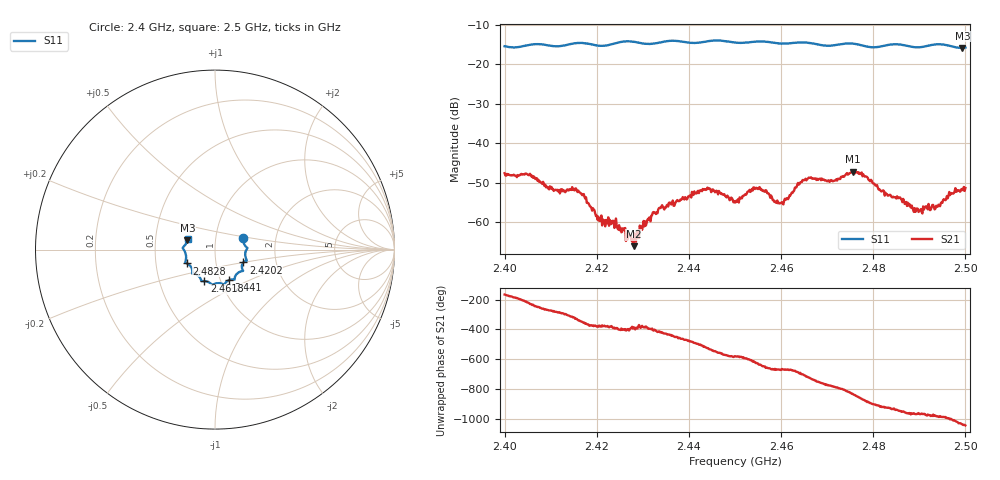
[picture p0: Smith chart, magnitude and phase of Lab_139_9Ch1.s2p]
# Hz S RI R 50
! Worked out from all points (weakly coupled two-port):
!   601 points, 2.4 GHz to 2.5 GHz, reference 50 ohm
!   highest |S21| = -47.22 dB at 2.4755 GHz (marker M1); lowest = -66.1 dB at 2.428 GHz (marker M2)
!   lowest |S11| = -15.8 dB at 2.4993 GHz (marker M3), VSWR 1.39, Z = 36.5 + j3.84 ohm
!   |S11| at or under -10 dB: start of sweep to end of sweep
!   S12 and S22 are empty: the file has one direction only
!   S11 on the Smith chart (normalised r, x): 2.4 GHz: 1.36, +0.18; 2.4202 GHz: 1.36, -0.20; 2.441 GHz: 1.10, -0.39; 2.4618 GHz: 0.84, -0.30; 2.4828 GHz: 0.72, -0.11; 2.5 GHz: 0.73, +0.09
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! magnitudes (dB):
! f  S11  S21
! 2.4 GHz  -15.4  -47.6
! 2.4052 GHz  -15.1  -48.1
! 2.4095 GHz  -15.2  -51.5
! 2.4167 GHz  -14.5  -52.8
! 2.4202 GHz  -15.2  -59.4
! 2.4238 GHz  -14.7  -61.5
! 2.428 GHz  -14.3  -66.1
! 2.4333 GHz  -14.5  -56.8
! 2.441 GHz  -14.6  -53.1
! 2.4442 GHz  -14.1  -51.4
! 2.45 GHz  -14.4  -55.1
! 2.4545 GHz  -14.2  -51.4
! 2.4593 GHz  -14.7  -55.2
! 2.4618 GHz  -14.7  -53.2
! 2.4667 GHz  -14.6  -49.0
! 2.4717 GHz  -15.1  -49.4
! 2.4755 GHz  -14.7  -47.2
! 2.4828 GHz  -15.1  -52.9
! 2.4833 GHz  -15.0  -53.2
! 2.4902 GHz  -15.6  -57.0
! 2.4993 GHz  -15.8  -51.7
! 2.5 GHz  -15.7  -51.4
